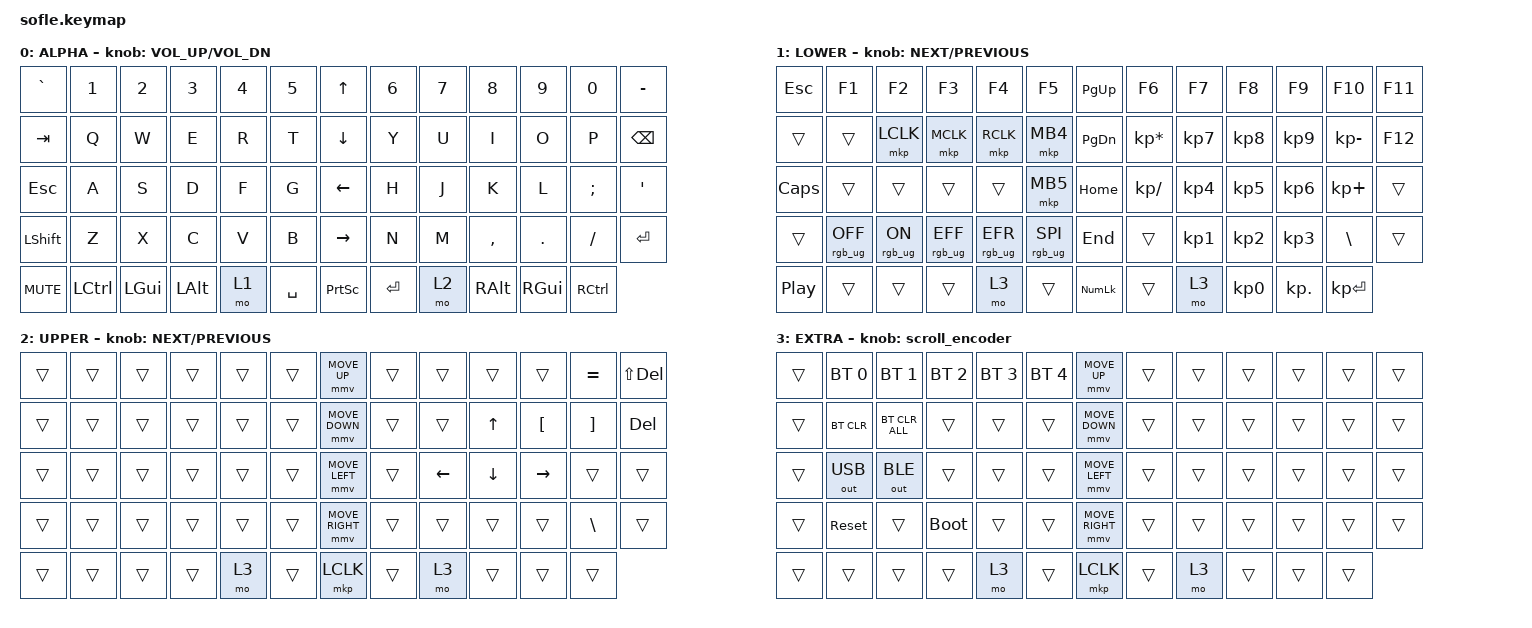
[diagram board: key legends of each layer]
#define ZMK_POINTING_DEFAULT_MOVE_VAL 1200  // 600
#define ZMK_POINTING_DEFAULT_SCRL_VAL 35    // 10

#include <input/processors.dtsi>
#include <zephyr/dt-bindings/input/input-event-codes.h>
#include <behaviors.dtsi>
#include <dt-bindings/zmk/bt.h>
#include <dt-bindings/zmk/keys.h>
#include <dt-bindings/zmk/outputs.h>
#include <dt-bindings/zmk/pointing.h>
#include <dt-bindings/zmk/rgb.h>

/ {
    zip_scroll_scaler: zip_scroll_scaler {
        compatible = "zmk,input-processor-scaler";
        #input-processor-cells = <2>;
        type = <INPUT_EV_REL>;
        codes = <INPUT_REL_WHEEL INPUT_REL_HWHEEL>;
        track-remainders;
    };
};

&mmv_input_listener { input-processors = <&zip_xy_scaler 2 1>; };

&msc_input_listener { input-processors = <&zip_scroll_scaler 2 1>; };

&msc {
    acceleration-exponent = <0>;      // 0
    time-to-max-speed-ms = <0>;       // 300
    delay-ms = <0>;                   // 0
};

&mmv {
    time-to-max-speed-ms = <400>;
    acceleration-exponent = <1>;
};

/ {
    scroll_encoder: scroll_encoder {
        compatible = "zmk,behavior-sensor-rotate";
        #sensor-binding-cells = <0>;
        bindings = <&msc SCRL_DOWN>, <&msc SCRL_UP>;

        tap-ms = <30>;
    };

    behaviors {
    };

    keymap {
        compatible = "zmk,keymap";

        alpha {
            bindings = <
&kp GRAVE   &kp N1     &kp N2        &kp N3        &kp N4  &kp N5       &kp UP_ARROW     &kp N6     &kp N7  &kp N8     &kp N9    &kp N0     &kp MINUS
&kp TAB     &kp Q      &kp W         &kp E         &kp R   &kp T        &kp DOWN_ARROW   &kp Y      &kp U   &kp I      &kp O     &kp P      &kp BSPC
&kp ESC     &kp A      &kp S         &kp D         &kp F   &kp G        &kp LEFT_ARROW   &kp H      &kp J   &kp K      &kp L     &kp SEMI   &kp APOS
&kp LSHFT   &kp Z      &kp X         &kp C         &kp V   &kp B        &kp RIGHT_ARROW  &kp N      &kp M   &kp COMMA  &kp DOT   &kp FSLH   &kp ENTER
&kp C_MUTE  &kp LCTRL  &kp LEFT_GUI  &kp LEFT_ALT  &mo 1   &kp SPACE    &kp PRINTSCREEN  &kp ENTER  &mo 2   &kp RALT   &kp RGUI  &kp RCTRL
            >;

            sensor-bindings = <&inc_dec_kp C_VOLUME_UP C_VOL_DN>;
            display-name = "ALPHA";
            label = "ALPHA";
        };

        lower {
            bindings = <
&kp ESC           &kp F1           &kp F2          &kp F3           &kp F4           &kp F5             &kp PAGE_UP    &kp F6           &kp F7           &kp F8           &kp F9           &kp F10        &kp F11
&trans            &trans           &mkp LCLK       &mkp MCLK        &mkp RCLK        &mkp MB4           &kp PAGE_DOWN  &kp KP_MULTIPLY  &kp KP_NUMBER_7  &kp KP_NUMBER_8  &kp KP_NUMBER_9  &kp KP_MINUS   &kp F12
&kp CAPS          &trans           &trans          &trans           &trans           &mkp MB5           &kp HOME       &kp KP_DIVIDE    &kp KP_NUMBER_4  &kp KP_NUMBER_5  &kp KP_NUMBER_6  &kp KP_PLUS    &trans
&trans            &rgb_ug RGB_OFF  &rgb_ug RGB_ON  &rgb_ug RGB_EFF  &rgb_ug RGB_EFR  &rgb_ug RGB_SPI    &kp END        &trans           &kp KP_NUMBER_1  &kp KP_NUMBER_2  &kp KP_NUMBER_3  &kp BACKSLASH  &trans
&kp C_PLAY_PAUSE  &trans           &trans          &trans           &mo 3            &trans             &kp KP_NLCK    &trans           &mo 3            &kp KP_NUMBER_0  &kp KP_DOT       &kp KP_ENTER
            >;

            sensor-bindings = <&inc_dec_kp C_NEXT C_PREVIOUS>;
            display-name = "LOWER";
            label = "LOWER";
        };

        upper {
            bindings = <
&trans  &trans  &trans  &trans  &trans  &trans    &mmv MOVE_UP     &trans  &trans    &trans    &trans     &kp EQUAL      &kp LS(DEL)
&trans  &trans  &trans  &trans  &trans  &trans    &mmv MOVE_DOWN   &trans  &trans    &kp UP    &kp LBKT   &kp RBKT       &kp DEL
&trans  &trans  &trans  &trans  &trans  &trans    &mmv MOVE_LEFT   &trans  &kp LEFT  &kp DOWN  &kp RIGHT  &trans         &trans
&trans  &trans  &trans  &trans  &trans  &trans    &mmv MOVE_RIGHT  &trans  &trans    &trans    &trans     &kp BACKSLASH  &trans
&trans  &trans  &trans  &trans  &mo 3   &trans    &mkp LCLK        &trans  &mo 3     &trans    &trans     &trans
            >;

            sensor-bindings = <&inc_dec_kp C_NEXT C_PREVIOUS>;
            display-name = "UPPER";
            label = "UPPER";
        };

        extra {
            bindings = <
&trans  &bt BT_SEL 0  &bt BT_SEL 1    &bt BT_SEL 2  &bt BT_SEL 3  &bt BT_SEL 4    &mmv MOVE_UP     &trans  &trans  &trans  &trans  &trans  &trans
&trans  &bt BT_CLR    &bt BT_CLR_ALL  &trans        &trans        &trans          &mmv MOVE_DOWN   &trans  &trans  &trans  &trans  &trans  &trans
&trans  &out OUT_USB  &out OUT_BLE    &trans        &trans        &trans          &mmv MOVE_LEFT   &trans  &trans  &trans  &trans  &trans  &trans
&trans  &sys_reset    &trans          &bootloader   &trans        &trans          &mmv MOVE_RIGHT  &trans  &trans  &trans  &trans  &trans  &trans
&trans  &trans        &trans          &trans        &mo 3         &trans          &mkp LCLK        &trans  &mo 3   &trans  &trans  &trans
            >;

            sensor-bindings = <&scroll_encoder>;
            display-name = "EXTRA";
            label = "EXTRA";
        };
    };
};
